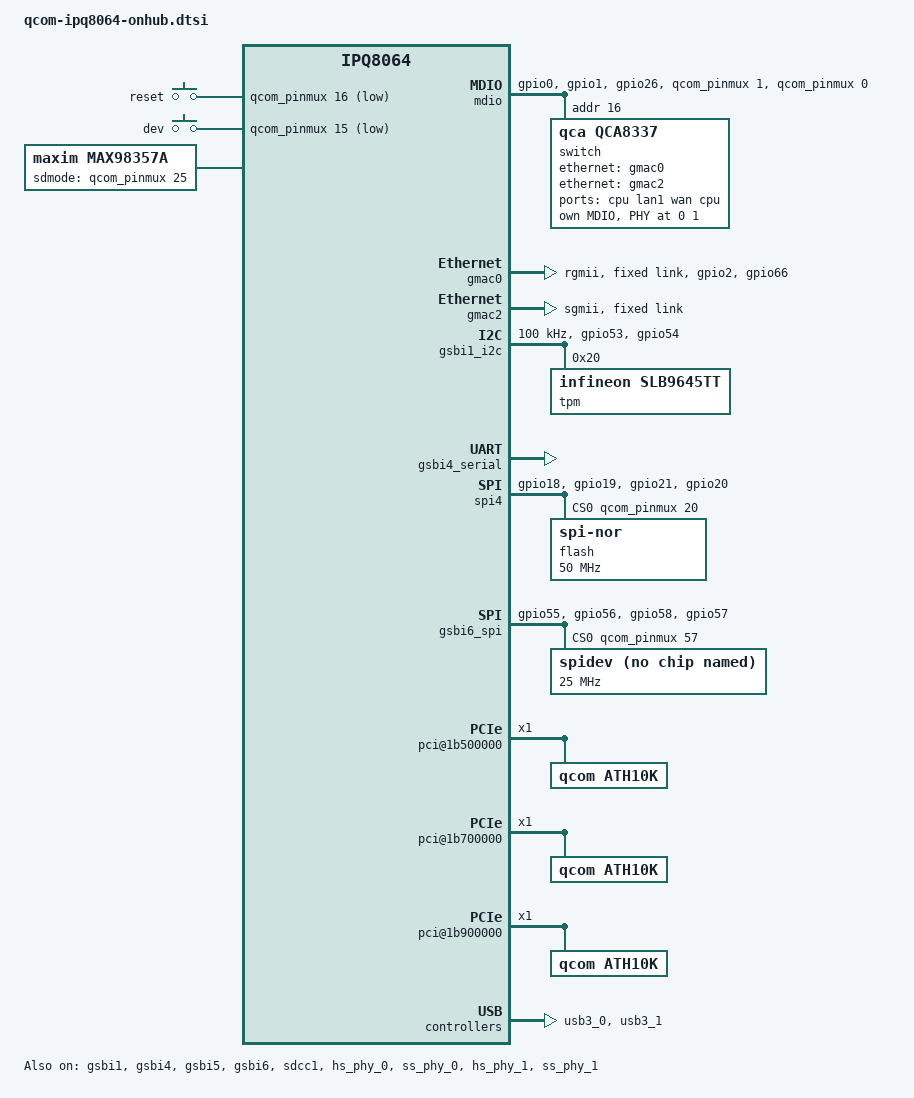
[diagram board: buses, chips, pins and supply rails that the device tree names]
// SPDX-License-Identifier: GPL-2.0
/*
 * Copyright 2014 The ChromiumOS Authors
 */

#include "qcom-ipq8064-smb208.dtsi"
#include <dt-bindings/gpio/gpio.h>
#include <dt-bindings/input/input.h>
#include <dt-bindings/soc/qcom,tcsr.h>

/ {
	aliases {
		ethernet0 = &gmac0;
		ethernet1 = &gmac2;
		mdio-gpio0 = &mdio;
		serial0 = &gsbi4_serial;
	};

	chosen {
		stdout-path = "serial0:115200n8";
	};

	reserved-memory {
		#address-cells = <1>;
		#size-cells = <1>;
		ranges;

		rsvd@41200000 {
			reg = <0x41200000 0x300000>;
			no-map;
		};
	};

	keys {
		compatible = "gpio-keys";
		pinctrl-0 = <&button_pins>;
		pinctrl-names = "default";

		reset {
			label = "reset";
			gpios = <&qcom_pinmux 16 GPIO_ACTIVE_LOW>;
			linux,code = <KEY_RESTART>;
			debounce-interval = <60>;
			wakeup-source;
		};

		dev {
			label = "dev";
			gpios = <&qcom_pinmux 15 GPIO_ACTIVE_LOW>;
			linux,code = <KEY_CONFIG>;
			debounce-interval = <60>;
			wakeup-source;
		};
	};

	mdio: mdio {
		compatible = "virtual,mdio-gpio";
		#address-cells = <1>;
		#size-cells = <0>;
		gpios = <&qcom_pinmux 1 GPIO_ACTIVE_HIGH>,
			<&qcom_pinmux 0 GPIO_ACTIVE_HIGH>;
		pinctrl-0 = <&mdio_pins>;
		pinctrl-names = "default";

		switch@10 {
			compatible = "qca,qca8337";
			#address-cells = <1>;
			#size-cells = <0>;
			reg = <0x10>;

			ports {
				#address-cells = <1>;
				#size-cells = <0>;

				port@0 {
					reg = <0>;
					label = "cpu";
					ethernet = <&gmac0>;
					phy-mode = "rgmii";
					tx-internal-delay-ps = <1000>;
					rx-internal-delay-ps = <1000>;

					fixed-link {
						speed = <1000>;
						full-duplex;
					};
				};

				port@1 {
					reg = <1>;
					label = "lan1";
					phy-mode = "internal";
					phy-handle = <&phy_port1>;
				};

				port@2 {
					reg = <2>;
					label = "wan";
					phy-mode = "internal";
					phy-handle = <&phy_port2>;
				};

				port@6 {
					reg = <6>;
					label = "cpu";
					ethernet = <&gmac2>;
					phy-mode = "sgmii";
					qca,sgmii-enable-pll;

					fixed-link {
						speed = <1000>;
						full-duplex;
					};
				};
			};

			mdio {
				#address-cells = <1>;
				#size-cells = <0>;

				phy_port1: phy@0 {
					reg = <0>;
				};

				phy_port2: phy@1 {
					reg = <1>;
				};
			};
		};
	};

	soc {
		rng@1a500000 {
			status = "disabled";
		};

		sound {
			compatible = "google,storm-audio";
			qcom,model = "ipq806x-storm";
			cpu = <&lpass>;
			codec = <&max98357a>;
		};

		lpass: lpass@28100000 {
			status = "okay";
			pinctrl-names = "default", "idle";
			pinctrl-0 = <&mi2s_default>;
			pinctrl-1 = <&mi2s_idle>;
		};

		max98357a: max98357a {
			compatible = "maxim,max98357a";
			#sound-dai-cells = <1>;
			pinctrl-names = "default";
			pinctrl-0 = <&sdmode_pins>;
			sdmode-gpios = <&qcom_pinmux 25 GPIO_ACTIVE_HIGH>;
		};
	};
};

&qcom_pinmux {
	rgmii0_pins: rgmii0_pins {
		mux {
			pins = "gpio2", "gpio66";
			drive-strength = <8>;
			bias-disable;
		};
	};
	mi2s_pins {
		mi2s_default: mi2s_default {
			dout {
				pins = "gpio32";
				function = "mi2s";
				drive-strength = <16>;
				bias-disable;
			};
			sync {
				pins = "gpio27";
				function = "mi2s";
				drive-strength = <16>;
				bias-disable;
			};
			clk {
				pins = "gpio28";
				function = "mi2s";
				drive-strength = <16>;
				bias-disable;
			};
		};
		mi2s_idle: mi2s_idle {
			dout {
				pins = "gpio32";
				function = "mi2s";
				drive-strength = <2>;
				bias-pull-down;
			};
			sync {
				pins = "gpio27";
				function = "mi2s";
				drive-strength = <2>;
				bias-pull-down;
			};
			clk {
				pins = "gpio28";
				function = "mi2s";
				drive-strength = <2>;
				bias-pull-down;
			};
		};
	};

	mdio_pins: mdio_pins {
		mux {
			pins = "gpio0", "gpio1";
			function = "gpio";
			drive-strength = <8>;
			bias-disable;
		};
		rst {
			pins = "gpio26";
			output-low;
		};
	};

	sdmode_pins: sdmode_pinmux {
		pins = "gpio25";
		function = "gpio";
		drive-strength = <16>;
		bias-disable;
	};

	sdcc1_pins: sdcc1_pinmux {
		mux {
			pins = "gpio38", "gpio39", "gpio40",
			       "gpio41", "gpio42", "gpio43",
			       "gpio44", "gpio45", "gpio46",
			       "gpio47";
			function = "sdc1";
		};
		cmd {
			pins = "gpio45";
			drive-strength = <10>;
			bias-pull-up;
		};
		data {
			pins = "gpio38", "gpio39", "gpio40",
			       "gpio41", "gpio43", "gpio44",
			       "gpio46", "gpio47";
			drive-strength = <10>;
			bias-pull-up;
		};
		clk {
			pins = "gpio42";
			drive-strength = <16>;
			bias-pull-down;
		};
	};

	i2c1_pins: i2c1_pinmux {
		pins = "gpio53", "gpio54";
		function = "gsbi1";
		bias-disable;
	};

	rpm_i2c_pinmux: rpm_i2c_pinmux {
		mux {
			pins = "gpio12", "gpio13";
			function = "gsbi4";
			drive-strength = <12>;
			bias-disable;
		};
	};

	spi_pins: spi-state {
		/delete-property/ pins;
		/delete-property/ function;
		/delete-property/ drive-strength;
		/delete-property/ bias-disable;

		mux {
			pins = "gpio18", "gpio19", "gpio21";
			function = "gsbi5";
			bias-pull-down;
			/delete-property/ bias-none;
			/delete-property/ drive-strength;
		};
		data {
			pins = "gpio18", "gpio19";
			drive-strength = <10>;
		};
		cs {
			pins = "gpio20";
			drive-strength = <10>;
			bias-pull-up;
		};
		clk {
			pins = "gpio21";
			drive-strength = <12>;
		};
	};

	fw_pinmux {
		wp {
			pins = "gpio17";
			output-low;
		};
	};

	button_pins: button_pins {
		recovery {
			pins = "gpio16";
			function = "gpio";
			bias-none;
		};
		developer {
			pins = "gpio15";
			function = "gpio";
			bias-none;
		};
	};

	spi6_pins: spi6_pins {
		mux {
			pins = "gpio55", "gpio56", "gpio58";
			function = "gsbi6";
			bias-pull-down;
		};
		data {
			pins = "gpio55", "gpio56";
			drive-strength = <10>;
		};
		cs {
			pins = "gpio57";
			drive-strength = <10>;
			bias-pull-up;
			output-high;
		};
		clk {
			pins = "gpio58";
			drive-strength = <12>;
		};
	};
};

&adm_dma {
	status = "okay";
};

&gmac0 {
	status = "okay";
	phy-mode = "rgmii";
	qcom,id = <0>;

	pinctrl-0 = <&rgmii0_pins>;
	pinctrl-names = "default";

	fixed-link {
		speed = <1000>;
		full-duplex;
	};
};

&gmac2 {
	status = "okay";
	phy-mode = "sgmii";
	qcom,id = <2>;

	fixed-link {
		speed = <1000>;
		full-duplex;
	};
};

&gsbi1 {
	status = "okay";
	qcom,mode = <GSBI_PROT_I2C_UART>;
};

&gsbi1_i2c {
	status = "okay";

	clock-frequency = <100000>;

	pinctrl-0 = <&i2c1_pins>;
	pinctrl-names = "default";

	tpm@20 {
		compatible = "infineon,slb9645tt";
		reg = <0x20>;
		powered-while-suspended;
	};
};

&gsbi4 {
	status = "okay";
	qcom,mode = <GSBI_PROT_I2C_UART>;
};

&gsbi4_serial {
	status = "okay";
};

&gsbi5 {
	status = "okay";
	qcom,mode = <GSBI_PROT_SPI>;

	spi4: spi@1a280000 {
		status = "okay";
		spi-max-frequency = <50000000>;
		pinctrl-0 = <&spi_pins>;
		pinctrl-names = "default";

		cs-gpios = <&qcom_pinmux 20 GPIO_ACTIVE_HIGH>;

		flash: flash@0 {
			compatible = "jedec,spi-nor";
			spi-max-frequency = <50000000>;
			reg = <0>;
		};
	};
};

&gsbi6 {
	status = "okay";
	qcom,mode = <GSBI_PROT_SPI>;
};

&gsbi6_spi {
	status = "okay";
	spi-max-frequency = <25000000>;

	pinctrl-0 = <&spi6_pins>;
	pinctrl-names = "default";

	cs-gpios = <&qcom_pinmux 57 GPIO_ACTIVE_HIGH>;

	dmas = <&adm_dma 8 0xb>,
	       <&adm_dma 7 0x14>;
	dma-names = "rx", "tx";

	/*
	 * This "spidev" was included in the manufacturer device tree. I suspect
	 * it's the (unused) Zigbee radio -- SiliconLabs EM3581 Zigbee? There's
	 * no driver or binding for this at the moment.
	 */
	spidev@0 {
		compatible = "spidev";
		reg = <0>;
		spi-max-frequency = <25000000>;
	};
};

&soc {
	/*
	 * The Chrome OnHub bootloader will patch the ath10k calibration data properties
	 * "qcom,ath10k-calibration-data-base64" into "pci@1b{5,7,9}00000/pcie@0/ath10k@0,0" nodes.
	 */

	/delete-node/ pcie@1b500000;
	/delete-node/ pcie@1b700000;
	/delete-node/ pcie@1b900000;

	pci@1b500000 {
		compatible = "qcom,pcie-ipq8064";
		reg = <0x1b500000 0x1000
		       0x1b502000 0x80
		       0x1b600000 0x100
		       0x0ff00000 0x100000>;
		reg-names = "dbi", "elbi", "parf", "config";
		device_type = "pci";
		linux,pci-domain = <0>;
		bus-range = <0x00 0xff>;
		num-lanes = <1>;
		#address-cells = <3>;
		#size-cells = <2>;

		ranges = <0x81000000 0x0 0x00000000 0x0fe00000 0x0 0x00010000   /* I/O */
			  0x82000000 0x0 0x08000000 0x08000000 0x0 0x07e00000>; /* MEM */

		interrupts = <GIC_SPI 35 IRQ_TYPE_LEVEL_HIGH>;
		interrupt-names = "msi";
		#interrupt-cells = <1>;
		interrupt-map-mask = <0 0 0 0x7>;
		interrupt-map = <0 0 0 1 &intc 0 36 IRQ_TYPE_LEVEL_HIGH>, /* int_a */
				<0 0 0 2 &intc 0 37 IRQ_TYPE_LEVEL_HIGH>, /* int_b */
				<0 0 0 3 &intc 0 38 IRQ_TYPE_LEVEL_HIGH>, /* int_c */
				<0 0 0 4 &intc 0 39 IRQ_TYPE_LEVEL_HIGH>; /* int_d */

		clocks = <&gcc PCIE_A_CLK>,
			 <&gcc PCIE_H_CLK>,
			 <&gcc PCIE_PHY_CLK>,
			 <&gcc PCIE_AUX_CLK>,
			 <&gcc PCIE_ALT_REF_CLK>;
		clock-names = "core", "iface", "phy", "aux", "ref";

		assigned-clocks = <&gcc PCIE_ALT_REF_CLK>;
		assigned-clock-rates = <100000000>;

		resets = <&gcc PCIE_ACLK_RESET>,
			 <&gcc PCIE_HCLK_RESET>,
			 <&gcc PCIE_POR_RESET>,
			 <&gcc PCIE_PCI_RESET>,
			 <&gcc PCIE_PHY_RESET>,
			 <&gcc PCIE_EXT_RESET>;
		reset-names = "axi", "ahb", "por", "pci", "phy", "ext";

		pinctrl-0 = <&pcie0_pins>;
		pinctrl-names = "default";

		perst-gpios = <&qcom_pinmux 3 GPIO_ACTIVE_LOW>;

		pcie@0 {
			device_type = "pci";
			reg = <0x0 0x0 0x0 0x0 0x0>;
			bus-range = <0x01 0xff>;

			#address-cells = <3>;
			#size-cells = <2>;
			ranges;

			ath10k@0,0 {
				compatible = "qcom,ath10k";
				reg = <0x00010000 0 0 0 0>;
				qcom,ath10k-sa-gpio = <2 3 4 0>;
				qcom,ath10k-sa-gpio-func = <5 5 5 0>;
			};
		};
	};

	pci@1b700000 {
		compatible = "qcom,pcie-ipq8064";
		reg = <0x1b700000 0x1000
		       0x1b702000 0x80
		       0x1b800000 0x100
		       0x31f00000 0x100000>;
		reg-names = "dbi", "elbi", "parf", "config";
		device_type = "pci";
		linux,pci-domain = <1>;
		bus-range = <0x00 0xff>;
		num-lanes = <1>;
		#address-cells = <3>;
		#size-cells = <2>;

		ranges = <0x81000000 0x0 0x00000000 0x31e00000 0x0 0x00010000   /* I/O */
			  0x82000000 0x0 0x2e000000 0x2e000000 0x0 0x03e00000>; /* MEM */

		interrupts = <GIC_SPI 57 IRQ_TYPE_LEVEL_HIGH>;
		interrupt-names = "msi";
		#interrupt-cells = <1>;
		interrupt-map-mask = <0 0 0 0x7>;
		interrupt-map = <0 0 0 1 &intc 0 58 IRQ_TYPE_LEVEL_HIGH>, /* int_a */
				<0 0 0 2 &intc 0 59 IRQ_TYPE_LEVEL_HIGH>, /* int_b */
				<0 0 0 3 &intc 0 60 IRQ_TYPE_LEVEL_HIGH>, /* int_c */
				<0 0 0 4 &intc 0 61 IRQ_TYPE_LEVEL_HIGH>; /* int_d */

		clocks = <&gcc PCIE_1_A_CLK>,
			 <&gcc PCIE_1_H_CLK>,
			 <&gcc PCIE_1_PHY_CLK>,
			 <&gcc PCIE_1_AUX_CLK>,
			 <&gcc PCIE_1_ALT_REF_CLK>;
		clock-names = "core", "iface", "phy", "aux", "ref";

		assigned-clocks = <&gcc PCIE_1_ALT_REF_CLK>;
		assigned-clock-rates = <100000000>;

		resets = <&gcc PCIE_1_ACLK_RESET>,
			 <&gcc PCIE_1_HCLK_RESET>,
			 <&gcc PCIE_1_POR_RESET>,
			 <&gcc PCIE_1_PCI_RESET>,
			 <&gcc PCIE_1_PHY_RESET>,
			 <&gcc PCIE_1_EXT_RESET>;
		reset-names = "axi", "ahb", "por", "pci", "phy", "ext";

		pinctrl-0 = <&pcie1_pins>;
		pinctrl-names = "default";

		perst-gpios = <&qcom_pinmux 48 GPIO_ACTIVE_LOW>;

		pcie@0 {
			device_type = "pci";
			reg = <0x0 0x0 0x0 0x0 0x0>;
			bus-range = <0x01 0xff>;

			#address-cells = <3>;
			#size-cells = <2>;
			ranges;

			ath10k@0,0 {
				compatible = "qcom,ath10k";
				reg = <0x00010000 0 0 0 0>;
				qcom,ath10k-sa-gpio = <2 3 4 0>;
				qcom,ath10k-sa-gpio-func = <5 5 5 0>;
			};
		};
	};

	pci@1b900000 {
		compatible = "qcom,pcie-ipq8064";
		reg = <0x1b900000 0x1000
		       0x1b902000 0x80
		       0x1ba00000 0x100
		       0x35f00000 0x100000>;
		reg-names = "dbi", "elbi", "parf", "config";
		device_type = "pci";
		linux,pci-domain = <2>;
		bus-range = <0x00 0xff>;
		num-lanes = <1>;
		#address-cells = <3>;
		#size-cells = <2>;

		ranges = <0x81000000 0x0 0x00000000 0x35e00000 0x0 0x00010000   /* I/O */
			  0x82000000 0x0 0x32000000 0x32000000 0x0 0x03e00000>; /* MEM */

		interrupts = <GIC_SPI 71 IRQ_TYPE_LEVEL_HIGH>;
		interrupt-names = "msi";
		#interrupt-cells = <1>;
		interrupt-map-mask = <0 0 0 0x7>;
		interrupt-map = <0 0 0 1 &intc 0 72 IRQ_TYPE_LEVEL_HIGH>, /* int_a */
				<0 0 0 2 &intc 0 73 IRQ_TYPE_LEVEL_HIGH>, /* int_b */
				<0 0 0 3 &intc 0 74 IRQ_TYPE_LEVEL_HIGH>, /* int_c */
				<0 0 0 4 &intc 0 75 IRQ_TYPE_LEVEL_HIGH>; /* int_d */

		clocks = <&gcc PCIE_2_A_CLK>,
			 <&gcc PCIE_2_H_CLK>,
			 <&gcc PCIE_2_PHY_CLK>,
			 <&gcc PCIE_2_AUX_CLK>,
			 <&gcc PCIE_2_ALT_REF_CLK>;
		clock-names = "core", "iface", "phy", "aux", "ref";

		assigned-clocks = <&gcc PCIE_2_ALT_REF_CLK>;
		assigned-clock-rates = <100000000>;

		resets = <&gcc PCIE_2_ACLK_RESET>,
			 <&gcc PCIE_2_HCLK_RESET>,
			 <&gcc PCIE_2_POR_RESET>,
			 <&gcc PCIE_2_PCI_RESET>,
			 <&gcc PCIE_2_PHY_RESET>,
			 <&gcc PCIE_2_EXT_RESET>;
		reset-names = "axi", "ahb", "por", "pci", "phy", "ext";

		pinctrl-0 = <&pcie2_pins>;
		pinctrl-names = "default";

		perst-gpios = <&qcom_pinmux 63 GPIO_ACTIVE_LOW>;

		pcie@0 {
			device_type = "pci";
			reg = <0x0 0x0 0x0 0x0 0x0>;
			bus-range = <0x01 0xff>;

			#address-cells = <3>;
			#size-cells = <2>;
			ranges;

			ath10k@0,0 {
				compatible = "qcom,ath10k";
				reg = <0x00010000 0 0 0 0>;
			};
		};
	};
};

&rpm {
	pinctrl-0 = <&rpm_i2c_pinmux>;
	pinctrl-names = "default";
};

&sdcc1 {
	status = "okay";
	pinctrl-0 = <&sdcc1_pins>;
	pinctrl-names = "default";
	/delete-property/ mmc-ddr-1_8v;
};

&tcsr {
	compatible = "qcom,tcsr-ipq8064", "qcom,tcsr", "syscon";
	qcom,usb-ctrl-select = <TCSR_USB_SELECT_USB3_DUAL>;
};

&hs_phy_0 {
	status = "okay";
};

&ss_phy_0 {
	status = "okay";
};

&usb3_0 {
	status = "okay";
};

&hs_phy_1 {
	status = "okay";
};

&ss_phy_1 {
	status = "okay";
};

&usb3_1 {
	status = "okay";
};
